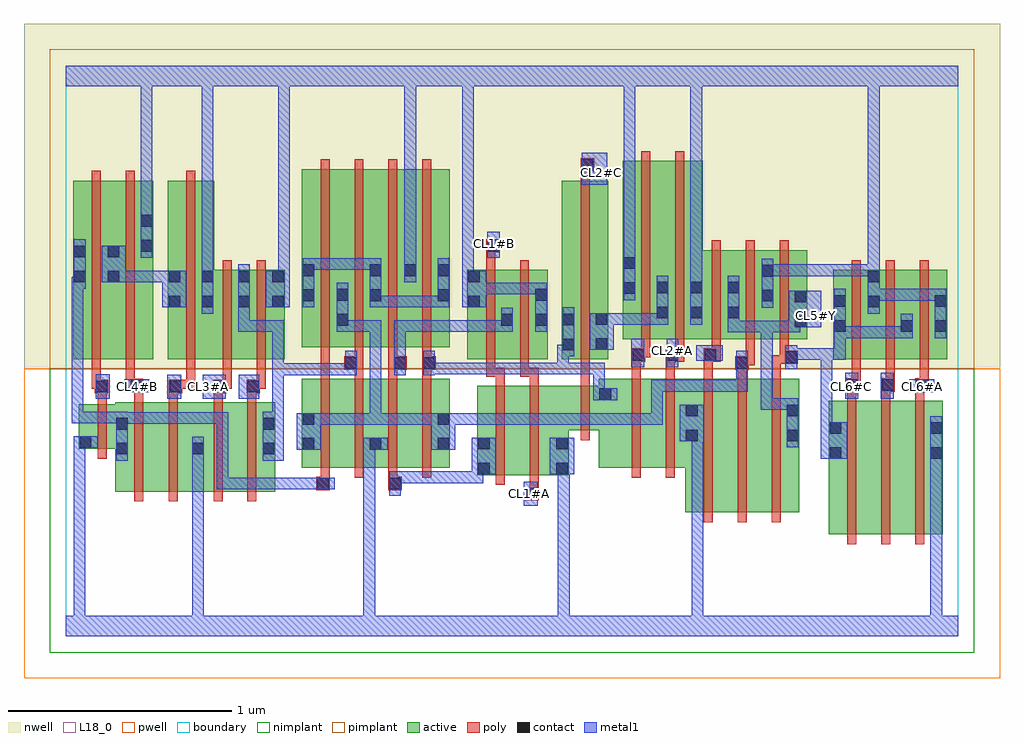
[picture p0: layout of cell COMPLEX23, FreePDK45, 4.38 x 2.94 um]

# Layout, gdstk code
import gdstk
lib = gdstk.Library(unit=1e-6, precision=1e-09)
def R(c, l, rs):  # rectangles x0, y0, x1, y1
    for r in rs: c.add(gdstk.rectangle(r[:2], r[2:], *l))
def A(c, l, x, y, w, h, nx, ny, dx, dy):  # array of equal rectangles
    R(c, l, [(x+i*dx, y+j*dy, x+i*dx+w, y+j*dy+h) for i in range(nx) for j in range(ny)])
active = (1, 0)
pwell = (2, 0)
nwell = (3, 0)
nimplant = (4, 0)
pimplant = (5, 0)
poly = (9, 0)
contact = (10, 0)
metal1 = (11, 0)
L18_0 = (18, 0)
boundary = (235, 0)

complex23 = lib.new_cell('COMPLEX23')
R(complex23, active, [(3.42,0.458,3.6,1.058), (3.6,0.458,3.752,1.058), (3.752,0.458,3.932,1.058), (3.872,0.458,3.932,1.058), (2.776,0.556,2.956,1.156), (2.956,0.556,3.108,1.156), (3.108,0.556,3.288,1.156), (3.228,0.556,3.288,1.156), (3.42,0.556,3.48,1.058), (0.222,0.65,0.402,1.05), (0.402,0.65,0.622,1.05), (0.562,0.65,0.758,1.05), (0.758,0.65,0.938,1.05), (1.844,0.724,1.904,1.124), (1.844,0.724,2.024,1.124), (2.024,0.724,2.254,1.124), (2.194,0.724,2.254,0.956), (0.562,0.756,0.622,0.872), (0.878,0.756,0.938,1.05), (1.058,0.756,1.118,1.156), (1.058,0.756,1.238,1.156), (1.238,0.756,1.418,1.156), (1.358,0.756,1.418,1.156), (1.358,0.756,1.542,1.156), (1.542,0.756,1.722,1.156), (1.662,0.756,1.722,1.156), (2.388,0.756,2.634,1.156), (2.634,0.756,2.836,1.156), (2.776,0.756,2.836,1.156), (0.222,0.812,0.282,1.042), (0.058,0.842,0.282,1.042), (0.058,0.842,0.118,1.042), (2.194,0.924,2.448,1.124), (2.388,0.956,2.448,1.124), (0.032,1.244,0.244,2.044), (0.032,1.244,0.092,2.044), (0.184,1.244,0.392,2.044), (0.184,1.244,0.244,2.044), (0.332,1.244,0.392,2.044), (0.456,1.244,0.664,2.044), (0.456,1.244,0.516,2.044), (0.604,1.244,0.828,1.644), (0.768,1.244,0.828,1.644), (0.768,1.244,0.98,1.644), (0.92,1.244,0.98,1.644), (1.8,1.244,1.86,1.644), (1.8,1.244,2.008,1.644), (1.948,1.244,2.16,1.644), (2.1,1.244,2.16,1.644), (2.224,1.244,2.432,2.044), (2.224,1.244,2.284,2.044), (2.372,1.244,2.432,2.044), (3.44,1.244,3.5,1.644), (3.44,1.244,3.652,1.644), (3.592,1.244,3.652,1.644), (3.592,1.244,3.8,1.644), (3.74,1.244,3.952,1.644), (3.892,1.244,3.952,1.644), (1.058,1.296,1.27,2.096), (1.058,1.296,1.118,2.096), (1.21,1.296,1.418,2.096), (1.21,1.296,1.27,2.044), (1.358,1.296,1.418,2.096), (1.358,1.296,1.574,2.096), (1.514,1.296,1.722,2.096), (1.514,1.296,1.574,2.096), (1.662,1.296,1.722,2.096), (2.496,1.332,2.704,2.132), (2.496,1.332,2.556,2.044), (2.644,1.332,2.856,2.132), (2.796,1.332,3.024,1.732), (2.964,1.332,3.176,1.732), (3.116,1.332,3.324,1.732), (3.264,1.332,3.324,1.732), (3.74,1.362,3.8,1.644), (1.948,1.39,2.008,1.644), (2.644,1.416,2.704,2.044), (2.796,1.422,2.856,1.644), (2.964,1.422,3.024,1.644), (0.604,1.472,0.664,1.644), (3.116,1.472,3.176,1.67)])
R(complex23, pwell, [(-0.188,-0.188,4.188,1.2)])
R(complex23, nwell, [(-0.188,1.2,4.188,2.748)])
R(complex23, nimplant, [(-0.072,-0.072,4.072,1.2)])
R(complex23, pimplant, [(-0.072,1.2,4.072,2.632)])
A(complex23, poly, 3.504, 0.414, 0.04, 0.688, 3, 1, 0.152, 0)
A(complex23, poly, 2.86, 0.512, 0.04, 0.688, 3, 1, 0.152, 0)
A(complex23, poly, 1.142, 0.712, 0.04, 0.488, 4, 1, 0.152, 0)
A(complex23, poly, 3.504, 1.062, 0.04, 0.076, 3, 1, 0.152, 0)
A(complex23, poly, 3.524, 1.118, 0.04, 0.122, 3, 1, 0.152, 0)
A(complex23, poly, 1.294, 1.16, 0.04, 0.076, 3, 1, 0.152, 0)
A(complex23, poly, 3.524, 1.2, 0.04, 0.488, 3, 1, 0.152, 0)
A(complex23, poly, 1.142, 1.216, 0.04, 0.076, 4, 1, 0.152, 0)
A(complex23, poly, 1.142, 1.252, 0.04, 0.888, 4, 1, 0.152, 0)
A(complex23, poly, 2.896, 1.288, 0.04, 0.488, 3, 1, 0.152, 0)
R(complex23, poly, [(0.306,0.606,0.346,1.094), (0.462,0.606,0.502,1.094), (0.662,0.606,0.702,1.094), (0.814,0.606,0.854,1.094), (2.06,0.61,2.12,0.67), (2.08,0.63,2.12,0.72), (1.122,0.656,1.182,0.716), (1.446,0.656,1.506,0.716), (1.142,0.676,1.182,0.752), (1.446,0.676,1.486,0.752), (1.928,0.68,1.968,1.168), (2.08,0.68,2.12,1.168), (2.538,0.712,2.578,1.2), (2.69,0.712,2.73,1.2), (0.142,0.798,0.182,1.086), (2.308,0.88,2.348,1.168), (0.142,1.046,0.182,1.13), (0.306,1.054,0.346,1.136), (0.462,1.054,0.502,1.13), (0.662,1.054,0.702,1.13), (0.814,1.054,0.854,1.13), (0.13,1.09,0.19,1.15), (0.462,1.09,0.522,1.15), (0.66,1.09,0.72,1.15), (0.81,1.09,0.87,1.15), (0.286,1.096,0.346,1.156), (3.496,1.098,3.556,1.158), (3.656,1.098,3.716,1.158), (3.808,1.098,3.868,1.158), (0.116,1.11,0.156,1.24), (0.116,1.11,0.17,1.15), (0.13,1.11,0.17,1.15), (0.482,1.11,0.522,1.15), (0.482,1.11,0.58,1.15), (0.54,1.11,0.58,1.24), (0.68,1.11,0.72,1.15), (0.68,1.11,0.744,1.15), (0.704,1.11,0.744,1.24), (0.83,1.11,0.87,1.15), (0.83,1.11,0.896,1.15), (0.856,1.11,0.896,1.24), (0.268,1.116,0.308,1.24), (0.268,1.116,0.326,1.156), (0.286,1.116,0.326,1.156), (3.516,1.118,3.556,1.158), (3.516,1.118,3.564,1.158), (3.676,1.118,3.716,1.158), (3.676,1.118,3.716,1.158), (3.828,1.118,3.868,1.158), (3.828,1.118,3.868,1.158), (1.928,1.128,1.968,1.204), (2.08,1.128,2.12,1.204), (2.308,1.128,2.348,1.204), (1.142,1.16,1.182,1.256), (2.538,1.16,2.578,1.272), (2.69,1.16,2.73,1.272), (2.86,1.16,2.9,1.272), (3.012,1.16,3.052,1.236), (3.164,1.16,3.204,1.262), (1.884,1.164,1.924,1.204), (1.884,1.164,1.924,1.204), (1.884,1.164,1.924,1.24), (1.884,1.164,1.968,1.204), (2.036,1.164,2.076,1.24), (2.036,1.164,2.11,1.204), (2.07,1.164,2.11,1.204), (2.07,1.164,2.12,1.204), (2.308,1.164,2.348,1.204), (2.308,1.164,2.348,1.204), (2.308,1.164,2.348,1.204), (2.308,1.164,2.348,1.24), (1.248,1.196,1.334,1.256), (1.294,1.196,1.334,1.236), (1.294,1.196,1.334,1.236), (1.446,1.196,1.486,1.236), (1.446,1.196,1.486,1.236), (1.446,1.196,1.528,1.256), (1.598,1.196,1.638,1.236), (1.598,1.196,1.638,1.236), (1.598,1.196,1.658,1.256), (3.002,1.196,3.062,1.256), (0.116,1.2,0.156,2.088), (0.268,1.2,0.308,2.088), (0.54,1.2,0.58,2.088), (0.704,1.2,0.744,1.688), (0.856,1.2,0.896,1.688), (1.884,1.2,1.924,1.688), (2.036,1.2,2.076,1.688), (2.308,1.2,2.348,2.088), (1.142,1.216,1.182,1.256), (1.142,1.216,1.182,1.256), (1.142,1.216,1.182,1.256), (3.022,1.216,3.062,1.256), (3.022,1.216,3.088,1.256), (3.048,1.216,3.088,1.328), (3.164,1.222,3.24,1.262), (3.2,1.222,3.24,1.262), (3.2,1.222,3.282,1.282), (2.538,1.232,2.598,1.292), (2.69,1.232,2.73,1.272), (2.69,1.232,2.73,1.272), (2.69,1.232,2.772,1.292), (2.86,1.232,2.9,1.272), (2.86,1.232,2.9,1.272), (2.86,1.232,2.936,1.292), (3.2,1.242,3.24,1.328), (2.558,1.252,2.598,1.292), (2.558,1.252,2.62,1.292), (2.58,1.252,2.62,1.328), (2.732,1.252,2.772,1.328), (2.896,1.252,2.936,1.328), (2.58,1.288,2.62,2.176), (2.732,1.288,2.772,2.176), (1.884,1.648,1.924,1.762), (1.884,1.722,1.944,1.782), (2.308,2.048,2.348,2.124), (2.308,2.084,2.368,2.144)])
R(complex23, contact, [(2.064,0.614,2.116,0.666), (1.126,0.66,1.178,0.712), (1.45,0.66,1.502,0.712), (1.848,0.728,1.9,0.78), (2.198,0.728,2.25,0.78), (3.424,0.796,3.476,0.848), (3.876,0.796,3.928,0.848), (0.226,0.816,0.278,0.868), (0.566,0.816,0.618,0.868), (0.882,0.816,0.934,0.868), (1.062,0.838,1.114,0.89), (1.362,0.838,1.414,0.89), (1.666,0.838,1.718,0.89), (1.848,0.84,1.9,0.892), (2.198,0.84,2.25,0.892), (0.062,0.846,0.114,0.898), (2.78,0.876,2.832,0.928), (3.232,0.876,3.284,0.928), (3.424,0.908,3.476,0.96), (3.876,0.908,3.928,0.96), (0.226,0.928,0.278,0.98), (0.882,0.928,0.934,0.98), (1.062,0.95,1.114,1.002), (1.666,0.95,1.718,1.002), (2.78,0.988,2.832,1.04), (3.232,0.988,3.284,1.04), (2.392,1.06,2.444,1.112), (0.134,1.094,0.186,1.146), (0.466,1.094,0.518,1.146), (0.664,1.094,0.716,1.146), (0.814,1.094,0.866,1.146), (0.29,1.1,0.342,1.152), (3.5,1.102,3.552,1.154), (3.66,1.102,3.712,1.154), (3.812,1.102,3.864,1.154), (1.252,1.2,1.304,1.252), (1.472,1.2,1.524,1.252), (1.602,1.2,1.654,1.252), (3.006,1.2,3.058,1.252), (3.226,1.226,3.278,1.278), (2.542,1.236,2.594,1.288), (2.694,1.236,2.746,1.288), (2.864,1.236,2.916,1.288), (2.228,1.284,2.28,1.336), (2.376,1.286,2.428,1.338), (3.444,1.366,3.496,1.418), (3.744,1.366,3.796,1.418), (3.896,1.366,3.948,1.418), (3.268,1.386,3.32,1.438), (1.214,1.394,1.266,1.446), (1.952,1.394,2.004,1.446), (2.104,1.394,2.156,1.446), (2.228,1.396,2.28,1.448), (2.376,1.398,2.428,1.45), (2.648,1.426,2.7,1.478), (2.8,1.426,2.852,1.478), (2.968,1.426,3.02,1.478), (0.46,1.476,0.512,1.528), (0.608,1.476,0.66,1.528), (0.772,1.476,0.824,1.528), (0.924,1.476,0.976,1.528), (1.804,1.476,1.856,1.528), (3.596,1.476,3.648,1.528), (3.444,1.478,3.496,1.53), (3.896,1.478,3.948,1.53), (3.268,1.498,3.32,1.55), (3.12,1.502,3.172,1.554), (1.062,1.504,1.114,1.556), (1.362,1.504,1.414,1.556), (1.666,1.504,1.718,1.556), (1.214,1.506,1.266,1.558), (2.104,1.506,2.156,1.558), (2.5,1.536,2.552,1.588), (2.648,1.538,2.7,1.59), (2.8,1.538,2.852,1.59), (2.968,1.538,3.02,1.59), (0.036,1.588,0.088,1.64), (0.188,1.588,0.24,1.64), (0.46,1.588,0.512,1.64), (0.608,1.588,0.66,1.64), (0.772,1.588,0.824,1.64), (0.924,1.588,0.976,1.64), (1.804,1.588,1.856,1.64), (3.596,1.588,3.648,1.64), (3.12,1.614,3.172,1.666), (1.062,1.616,1.114,1.668), (1.362,1.616,1.414,1.668), (1.518,1.616,1.57,1.668), (1.666,1.616,1.718,1.668), (2.5,1.648,2.552,1.7), (0.036,1.7,0.088,1.752), (0.188,1.7,0.24,1.752), (0.336,1.726,0.388,1.778), (1.888,1.726,1.94,1.778), (0.336,1.838,0.388,1.89), (2.312,2.088,2.364,2.14)])
A(complex23, metal1, 0.226, 0.954, 0.162, 0.052, 3, 1, 0.11, 0)
A(complex23, metal1, 0.336, 0.954, 0.052, 0.052, 3, 1, 0.11, 0)
R(complex23, metal1, [(0,0,4,0.092), (0.034,0.04,0.086,0.092), (0.034,0.04,0.086,0.092), (0.034,0.04,0.086,0.092), (0.034,0.04,0.086,0.092), (0.034,0.04,0.086,0.092), (0.034,0.04,0.086,0.092), (0.034,0.04,0.086,0.092), (0.034,0.04,0.086,0.092), (0.034,0.04,0.086,0.898), (0.566,0.04,0.618,0.092), (0.566,0.04,0.618,0.092), (0.566,0.04,0.618,0.092), (0.566,0.04,0.618,0.092), (0.566,0.04,0.618,0.092), (0.566,0.04,0.618,0.092), (0.566,0.04,0.618,0.092), (0.566,0.04,0.618,0.092), (0.566,0.04,0.618,0.092), (0.566,0.04,0.618,0.092), (0.566,0.04,0.618,0.092), (0.566,0.04,0.618,0.092), (0.566,0.04,0.618,0.84), (1.334,0.04,1.386,0.098), (2.206,0.04,2.258,0.092), (2.206,0.04,2.258,0.092), (2.206,0.04,2.258,0.78), (2.806,0.04,2.858,0.092), (2.806,0.04,2.858,0.092), (2.806,0.04,2.858,0.092), (2.806,0.04,2.858,0.092), (2.806,0.04,2.858,0.928), (3.876,0.04,3.928,0.092), (3.876,0.04,3.928,0.092), (3.876,0.04,3.928,0.82), (1.334,0.046,1.386,0.098), (1.334,0.046,1.386,0.098), (1.334,0.046,1.386,0.098), (1.334,0.046,1.386,0.098), (1.334,0.046,1.386,0.098), (1.334,0.046,1.386,0.098), (1.334,0.046,1.386,0.098), (1.334,0.046,1.386,0.098), (1.334,0.046,1.386,0.098), (1.334,0.046,1.386,0.098), (1.334,0.046,1.386,0.098), (1.334,0.046,1.386,0.89), (2.052,0.586,2.116,0.694), (1.45,0.632,1.502,0.74), (0.676,0.66,0.728,0.712), (0.676,0.66,0.728,0.712), (0.676,0.66,0.728,0.712), (0.676,0.66,1.004,0.712), (0.676,0.66,0.728,1.006), (0.952,0.66,1.004,0.712), (0.952,0.66,1.004,0.712), (0.952,0.66,1.004,0.712), (0.952,0.66,1.004,0.712), (0.952,0.66,1.004,0.712), (0.952,0.66,1.004,0.712), (0.952,0.66,1.004,0.712), (0.952,0.66,1.004,0.712), (0.952,0.66,1.004,0.712), (0.952,0.66,1.15,0.712), (1.098,0.66,1.206,0.712), (1.45,0.688,1.544,0.74), (1.492,0.688,1.544,0.74), (1.492,0.688,1.654,0.74), (1.602,0.688,1.654,0.74), (1.602,0.688,1.654,0.74), (1.602,0.688,1.654,0.74), (1.602,0.688,1.872,0.74), (1.82,0.688,1.872,0.74), (1.82,0.688,1.872,0.78), (1.82,0.728,1.928,0.892), (2.17,0.728,2.278,0.892), (2.206,0.728,2.258,0.78), (2.206,0.728,2.258,0.78), (2.206,0.728,2.258,0.78), (2.206,0.728,2.258,0.78), (2.206,0.728,2.258,0.78), (2.206,0.728,2.258,0.78), (2.206,0.728,2.258,0.78), (2.206,0.728,2.258,0.78), (2.206,0.728,2.258,0.78), (2.206,0.728,2.258,0.78), (3.876,0.768,3.928,0.82), (3.876,0.768,3.928,0.82), (3.876,0.768,3.928,0.82), (3.876,0.768,3.928,0.82), (3.876,0.768,3.928,0.82), (3.876,0.768,3.928,0.82), (3.876,0.768,3.928,0.988), (0.226,0.788,0.278,1.008), (0.566,0.788,0.618,0.896), (0.882,0.788,0.976,1.008), (3.384,0.796,3.504,0.96), (1.034,0.838,1.142,1.002), (1.334,0.838,1.442,0.89), (1.638,0.838,1.746,1.002), (0.034,0.846,0.086,0.898), (0.034,0.846,0.086,0.898), (0.034,0.846,0.086,0.898), (0.034,0.846,0.086,0.898), (0.034,0.846,0.086,0.898), (0.034,0.846,0.086,0.898), (0.034,0.846,0.086,0.898), (0.034,0.846,0.086,0.898), (0.034,0.846,0.142,0.898), (3.232,0.848,3.284,1.068), (2.752,0.876,2.86,1.04), (2.806,0.876,2.858,0.928), (2.806,0.876,2.858,0.928), (2.806,0.876,2.858,0.928), (2.806,0.876,2.858,0.928), (3.384,0.908,3.436,0.96), (3.384,0.908,3.436,0.96), (3.384,0.908,3.436,1.292), (1.09,0.95,1.142,1.002), (1.09,0.95,1.142,1.002), (1.09,0.95,1.252,1.002), (1.2,0.95,1.252,1.002), (1.2,0.95,1.252,1.002), (1.2,0.95,1.252,1.002), (1.2,0.95,1.414,1.002), (1.362,0.95,1.414,1.002), (1.362,0.95,1.414,1.002), (1.362,0.95,1.414,1.002), (1.362,0.95,1.524,1.002), (1.362,0.95,1.414,1.418), (1.472,0.95,1.524,1.002), (1.472,0.95,1.524,1.002), (1.472,0.95,1.524,1.002), (1.472,0.95,1.69,1.002), (1.638,0.95,1.69,1.002), (1.638,0.95,1.69,1.002), (1.694,0.95,1.856,1.002), (1.804,0.95,1.856,1.002), (1.804,0.95,1.856,1.002), (1.804,0.95,1.856,1.002), (1.804,0.95,2.046,1.002), (1.994,0.95,2.046,1.002), (1.994,0.95,2.046,1.002), (1.994,0.95,2.046,1.002), (1.994,0.95,2.226,1.002), (2.174,0.95,2.226,1.002), (2.174,0.95,2.226,1.002), (2.174,0.95,2.226,1.002), (2.174,0.95,2.226,1.002), (2.174,0.95,2.226,1.002), (2.174,0.95,2.442,1.002), (2.39,0.95,2.442,1.002), (2.39,0.95,2.442,1.002), (2.39,0.95,2.442,1.002), (2.39,0.95,2.566,1.002), (2.514,0.95,2.566,1.002), (2.514,0.95,2.566,1.002), (2.514,0.95,2.566,1.002), (2.514,0.95,2.676,1.002), (2.624,0.95,2.676,1.002), (2.624,0.95,2.676,1.15), (0.226,0.954,0.278,1.006), (0.226,0.954,0.278,1.006), (0.336,0.954,0.388,1.006), (0.336,0.954,0.388,1.006), (0.556,0.954,0.608,1.006), (0.556,0.954,0.608,1.006), (0.556,0.954,0.728,1.006), (0.676,0.954,0.728,1.006), (0.026,0.956,0.078,1.008), (0.026,0.956,0.078,1.008), (0.026,0.956,0.078,1.008), (0.026,0.956,0.278,1.008), (0.026,0.956,0.078,1.612), (0.924,0.956,0.976,1.224), (3.116,1.016,3.168,1.068), (3.116,1.016,3.168,1.068), (3.116,1.016,3.168,1.068), (3.116,1.016,3.284,1.068), (3.116,1.016,3.168,1.416), (2.364,1.06,2.416,1.112), (2.364,1.06,2.416,1.112), (2.364,1.06,2.416,1.228), (2.364,1.06,2.472,1.112), (0.134,1.066,0.196,1.176), (0.454,1.066,0.518,1.174), (0.614,1.066,0.716,1.174), (0.774,1.066,0.866,1.174), (3.494,1.066,3.552,1.182), (3.654,1.066,3.712,1.182), (0.262,1.094,0.374,1.154), (3.782,1.094,3.894,1.154), (2.624,1.098,2.676,1.15), (2.624,1.098,2.676,1.15), (2.624,1.098,2.676,1.15), (2.624,1.098,2.826,1.15), (2.774,1.098,2.826,1.15), (2.774,1.098,2.826,1.15), (2.774,1.098,2.826,1.15), (2.774,1.098,3.058,1.15), (3.006,1.098,3.058,1.15), (3.006,1.098,3.058,1.224), (0.924,1.172,0.976,1.224), (0.924,1.172,0.976,1.224), (0.924,1.172,0.976,1.224), (0.924,1.172,0.976,1.224), (0.924,1.172,0.976,1.224), (0.924,1.172,1.142,1.224), (0.924,1.172,0.976,1.418), (1.09,1.172,1.142,1.224), (1.09,1.172,1.252,1.224), (1.2,1.172,1.252,1.224), (1.2,1.172,1.304,1.224), (1.252,1.172,1.304,1.28), (1.472,1.172,1.524,1.28), (1.602,1.172,1.654,1.28), (3.006,1.172,3.058,1.224), (3.006,1.172,3.058,1.224), (3.006,1.172,3.058,1.28), (1.602,1.176,1.654,1.228), (1.602,1.176,1.654,1.228), (1.602,1.176,1.856,1.228), (1.804,1.176,1.856,1.228), (1.804,1.176,1.856,1.228), (1.804,1.176,1.856,1.228), (1.804,1.176,2.046,1.228), (1.994,1.176,2.046,1.228), (1.994,1.176,2.046,1.228), (1.994,1.176,2.046,1.228), (1.994,1.176,2.254,1.228), (2.202,1.176,2.254,1.228), (2.202,1.176,2.254,1.228), (2.202,1.176,2.254,1.228), (2.202,1.176,2.416,1.228), (2.202,1.176,2.254,1.308), (2.364,1.176,2.416,1.228), (2.364,1.176,2.416,1.228), (2.364,1.176,2.416,1.228), (3.226,1.198,3.278,1.306), (2.534,1.208,2.594,1.334), (2.694,1.208,2.746,1.334), (1.472,1.228,1.524,1.28), (1.472,1.228,1.524,1.28), (1.472,1.228,1.524,1.418), (2.826,1.236,2.944,1.306), (3.226,1.24,3.282,1.292), (3.23,1.24,3.282,1.292), (3.23,1.24,3.436,1.292), (3.384,1.24,3.496,1.292), (3.444,1.24,3.496,1.39), (2.202,1.256,2.254,1.308), (2.202,1.256,2.28,1.308), (2.228,1.256,2.28,1.476), (2.348,1.286,2.456,1.45), (3.444,1.338,3.496,1.39), (3.444,1.338,3.496,1.39), (3.444,1.338,3.496,1.558), (3.444,1.338,3.606,1.39), (3.554,1.338,3.606,1.39), (3.554,1.338,3.606,1.39), (3.554,1.338,3.606,1.39), (3.554,1.338,3.796,1.39), (3.744,1.338,3.796,1.446), (3.896,1.338,3.948,1.558), (2.968,1.364,3.168,1.416), (2.968,1.364,3.02,1.45), (3.116,1.364,3.168,1.416), (3.116,1.364,3.168,1.416), (3.116,1.364,3.168,1.416), (3.116,1.364,3.168,1.416), (3.116,1.364,3.168,1.416), (3.116,1.364,3.168,1.416), (3.116,1.364,3.168,1.416), (3.116,1.364,3.292,1.416), (3.24,1.364,3.292,1.416), (3.24,1.364,3.292,1.438), (0.772,1.366,0.976,1.418), (0.772,1.366,0.824,1.5), (0.924,1.366,0.976,1.418), (0.924,1.366,0.976,1.418), (0.924,1.366,0.976,1.418), (1.214,1.366,1.266,1.418), (1.214,1.366,1.266,1.418), (1.214,1.366,1.266,1.586), (1.214,1.366,1.414,1.418), (1.362,1.366,1.414,1.418), (1.362,1.366,1.414,1.418), (1.362,1.366,1.414,1.418), (1.472,1.366,1.524,1.418), (1.472,1.366,1.718,1.418), (1.666,1.366,1.718,1.418), (1.666,1.366,1.718,1.418), (1.666,1.366,1.718,1.418), (1.666,1.366,1.856,1.418), (1.804,1.366,1.856,1.418), (1.804,1.366,1.856,1.418), (1.804,1.366,1.856,1.418), (1.804,1.366,2.004,1.418), (1.952,1.366,2.004,1.474), (2.104,1.366,2.156,1.586), (3.24,1.386,3.386,1.55), (2.404,1.398,2.566,1.45), (2.514,1.398,2.566,1.45), (2.514,1.398,2.566,1.45), (2.514,1.398,2.566,1.45), (2.514,1.398,2.7,1.45), (2.648,1.398,2.7,1.618), (2.8,1.398,2.852,1.618), (2.968,1.398,3.02,1.45), (2.968,1.398,3.02,1.618), (0.608,1.448,0.66,1.668), (0.772,1.448,0.824,1.5), (0.772,1.448,0.824,1.668), (3.596,1.448,3.648,1.668), (3.12,1.474,3.172,1.694), (0.432,1.476,0.54,1.64), (0.896,1.476,1.004,1.64), (1.062,1.476,1.114,1.696), (1.362,1.476,1.414,1.696), (1.362,1.476,1.544,1.528), (1.492,1.476,1.544,1.528), (1.492,1.476,1.544,1.528), (1.492,1.476,1.544,1.528), (1.492,1.476,1.718,1.528), (1.666,1.476,1.718,1.528), (1.666,1.476,1.718,1.528), (1.666,1.476,1.718,1.696), (1.776,1.476,1.884,1.64), (3.596,1.506,3.648,1.558), (3.596,1.506,3.648,1.558), (3.596,1.506,3.758,1.558), (3.706,1.506,3.758,1.558), (3.706,1.506,3.948,1.558), (3.896,1.506,3.948,1.558), (3.896,1.506,3.948,1.558), (2.5,1.508,2.552,1.728), (1.832,1.534,1.884,1.586), (1.832,1.534,1.884,1.586), (1.832,1.534,2.046,1.586), (1.994,1.534,2.046,1.586), (1.994,1.534,2.046,1.586), (1.994,1.534,2.046,1.586), (1.994,1.534,2.156,1.586), (0.026,1.56,0.078,1.612), (0.026,1.56,0.078,1.612), (0.026,1.56,0.088,1.612), (0.036,1.56,0.088,1.612), (0.036,1.56,0.088,1.78), (2.8,1.566,2.852,2.52), (0.16,1.588,0.268,1.752), (0.216,1.588,0.268,1.64), (0.216,1.588,0.268,1.64), (0.216,1.588,0.388,1.64), (0.336,1.588,0.388,1.64), (0.336,1.588,0.484,1.64), (0.952,1.588,1.004,1.64), (0.952,1.588,1.004,1.64), (0.952,1.588,1.004,1.64), (0.952,1.588,1.004,1.64), (0.952,1.588,1.004,1.64), (0.952,1.588,1.004,1.64), (0.952,1.588,1.004,1.64), (0.952,1.588,1.004,1.64), (0.952,1.588,1.004,2.52), (1.518,1.588,1.57,1.696), (1.776,1.588,1.828,1.64), (1.776,1.588,1.828,1.64), (1.776,1.588,1.828,1.64), (1.776,1.588,1.828,1.64), (1.776,1.588,1.828,1.64), (1.776,1.588,1.828,1.64), (1.776,1.588,1.828,2.52), (0.608,1.616,0.66,2.52), (3.12,1.616,3.18,1.668), (3.128,1.616,3.18,1.668), (3.128,1.616,3.282,1.668), (3.23,1.616,3.282,1.668), (3.23,1.616,3.458,1.668), (3.406,1.616,3.458,1.668), (3.406,1.616,3.458,1.668), (3.406,1.616,3.458,1.668), (3.406,1.616,3.648,1.668), (3.596,1.616,3.648,2.52), (1.062,1.644,1.114,1.696), (1.062,1.644,1.114,1.696), (1.062,1.644,1.276,1.696), (1.224,1.644,1.276,1.696), (1.224,1.644,1.276,1.696), (1.224,1.644,1.276,1.696), (1.224,1.644,1.414,1.696), (1.518,1.644,1.57,1.696), (1.518,1.644,1.57,1.696), (1.518,1.644,1.57,2.52), (2.5,1.676,2.552,2.52), (0.336,1.698,0.388,1.918), (1.888,1.698,1.946,1.814), (0.336,1.866,0.388,2.52), (2.312,2.026,2.426,2.168), (0,2.468,4,2.56), (0.336,2.468,0.388,2.52), (0.336,2.468,0.388,2.52), (0.336,2.468,0.388,2.52), (0.336,2.468,0.388,2.52), (0.336,2.468,0.388,2.52), (0.336,2.468,0.388,2.52), (0.336,2.468,0.388,2.52), (0.336,2.468,0.388,2.52), (0.608,2.468,0.66,2.52), (0.608,2.468,0.66,2.52), (0.608,2.468,0.66,2.52), (0.608,2.468,0.66,2.52), (0.608,2.468,0.66,2.52), (0.608,2.468,0.66,2.52), (0.608,2.468,0.66,2.52), (0.608,2.468,0.66,2.52), (0.952,2.468,1.004,2.52), (0.952,2.468,1.004,2.52), (0.952,2.468,1.004,2.52), (0.952,2.468,1.004,2.52), (0.952,2.468,1.004,2.52), (0.952,2.468,1.004,2.52), (0.952,2.468,1.004,2.52), (0.952,2.468,1.004,2.52), (1.518,2.468,1.57,2.52), (1.518,2.468,1.57,2.52), (1.518,2.468,1.57,2.52), (1.518,2.468,1.57,2.52), (1.518,2.468,1.57,2.52), (1.518,2.468,1.57,2.52), (1.776,2.468,1.828,2.52), (1.776,2.468,1.828,2.52), (1.776,2.468,1.828,2.52), (1.776,2.468,1.828,2.52), (1.776,2.468,1.828,2.52), (1.776,2.468,1.828,2.52), (1.776,2.468,1.828,2.52), (1.776,2.468,1.828,2.52), (1.776,2.468,1.828,2.52), (1.776,2.468,1.828,2.52), (2.5,2.468,2.552,2.52), (2.5,2.468,2.552,2.52), (2.5,2.468,2.552,2.52), (2.5,2.468,2.552,2.52), (2.5,2.468,2.552,2.52), (2.5,2.468,2.552,2.52), (2.5,2.468,2.552,2.52), (2.5,2.468,2.552,2.52), (2.8,2.468,2.852,2.52), (2.8,2.468,2.852,2.52), (2.8,2.468,2.852,2.52), (2.8,2.468,2.852,2.52), (2.8,2.468,2.852,2.52), (2.8,2.468,2.852,2.52), (2.8,2.468,2.852,2.52), (2.8,2.468,2.852,2.52), (3.596,2.468,3.648,2.52), (3.596,2.468,3.648,2.52), (3.596,2.468,3.648,2.52), (3.596,2.468,3.648,2.52), (3.596,2.468,3.648,2.52), (3.596,2.468,3.648,2.52), (3.596,2.468,3.648,2.52), (3.596,2.468,3.648,2.52), (3.596,2.468,3.648,2.52), (3.596,2.468,3.648,2.52), (3.596,2.468,3.648,2.52), (3.596,2.468,3.648,2.52), (3.596,2.468,3.648,2.52), (3.596,2.468,3.648,2.52), (3.596,2.468,3.648,2.52), (3.596,2.468,3.648,2.52)])
A(complex23, L18_0, 0.134, 1.094, 0.052, 0.052, 5, 1, 0.16, 0)
A(complex23, L18_0, 3.494, 1.094, 0.052, 0.052, 3, 1, 0.16, 0)
A(complex23, L18_0, 2.534, 1.254, 0.052, 0.052, 3, 1, 0.16, 0)
R(complex23, L18_0, [(0,0,4,0.092), (0.034,0.04,0.086,0.092), (0.034,0.04,0.086,0.092), (0.034,0.04,0.086,0.092), (0.034,0.04,0.086,0.092), (0.034,0.04,0.086,0.092), (0.034,0.04,0.086,0.092), (0.034,0.04,0.086,0.092), (0.034,0.04,0.086,0.092), (0.034,0.04,0.086,0.898), (0.566,0.04,0.618,0.092), (0.566,0.04,0.618,0.092), (0.566,0.04,0.618,0.092), (0.566,0.04,0.618,0.092), (0.566,0.04,0.618,0.092), (0.566,0.04,0.618,0.092), (0.566,0.04,0.618,0.092), (0.566,0.04,0.618,0.092), (0.566,0.04,0.618,0.092), (0.566,0.04,0.618,0.092), (0.566,0.04,0.618,0.092), (0.566,0.04,0.618,0.092), (0.566,0.04,0.618,0.84), (1.334,0.04,1.386,0.098), (2.206,0.04,2.258,0.092), (2.206,0.04,2.258,0.092), (2.206,0.04,2.258,0.78), (2.806,0.04,2.858,0.092), (2.806,0.04,2.858,0.092), (2.806,0.04,2.858,0.092), (2.806,0.04,2.858,0.092), (2.806,0.04,2.858,0.928), (3.876,0.04,3.928,0.092), (3.876,0.04,3.928,0.092), (3.876,0.04,3.928,0.82), (1.334,0.046,1.386,0.098), (1.334,0.046,1.386,0.098), (1.334,0.046,1.386,0.098), (1.334,0.046,1.386,0.098), (1.334,0.046,1.386,0.098), (1.334,0.046,1.386,0.098), (1.334,0.046,1.386,0.098), (1.334,0.046,1.386,0.098), (1.334,0.046,1.386,0.098), (1.334,0.046,1.386,0.098), (1.334,0.046,1.386,0.098), (1.334,0.046,1.386,0.89), (2.052,0.586,2.116,0.694), (2.054,0.614,2.106,0.666), (2.17,0.728,2.278,0.892), (2.206,0.728,2.258,0.78), (2.206,0.728,2.258,0.78), (2.206,0.728,2.258,0.78), (2.206,0.728,2.258,0.78), (2.206,0.728,2.258,0.78), (2.206,0.728,2.258,0.78), (2.206,0.728,2.258,0.78), (2.206,0.728,2.258,0.78), (2.206,0.728,2.258,0.78), (2.206,0.728,2.258,0.78), (3.876,0.768,3.928,0.82), (3.876,0.768,3.928,0.82), (3.876,0.768,3.928,0.82), (3.876,0.768,3.928,0.82), (3.876,0.768,3.928,0.82), (3.876,0.768,3.928,0.82), (3.876,0.768,3.928,0.988), (0.566,0.788,0.618,0.896), (1.334,0.838,1.442,0.89), (0.034,0.846,0.086,0.898), (0.034,0.846,0.086,0.898), (0.034,0.846,0.086,0.898), (0.034,0.846,0.086,0.898), (0.034,0.846,0.086,0.898), (0.034,0.846,0.086,0.898), (0.034,0.846,0.086,0.898), (0.034,0.846,0.086,0.898), (0.034,0.846,0.142,0.898), (3.232,0.848,3.284,1.068), (2.752,0.876,2.86,1.04), (2.806,0.876,2.858,0.928), (2.806,0.876,2.858,0.928), (2.806,0.876,2.858,0.928), (2.806,0.876,2.858,0.928), (3.116,1.016,3.168,1.068), (3.116,1.016,3.168,1.068), (3.116,1.016,3.168,1.068), (3.116,1.016,3.168,1.416), (3.116,1.016,3.284,1.068), (0.134,1.066,0.196,1.176), (0.454,1.066,0.518,1.174), (0.614,1.066,0.716,1.174), (0.774,1.066,0.866,1.174), (3.494,1.066,3.552,1.182), (3.654,1.066,3.712,1.182), (0.262,1.094,0.374,1.154), (3.782,1.094,3.894,1.154), (2.534,1.208,2.594,1.334), (2.694,1.208,2.746,1.334), (2.826,1.236,2.944,1.306), (3.896,1.338,3.948,1.558), (2.968,1.364,3.02,1.45), (2.968,1.364,3.168,1.416), (3.116,1.364,3.168,1.416), (3.116,1.364,3.168,1.416), (3.116,1.364,3.168,1.416), (3.116,1.364,3.168,1.416), (3.116,1.364,3.168,1.416), (3.116,1.364,3.168,1.416), (3.116,1.364,3.168,1.416), (3.116,1.364,3.292,1.416), (3.24,1.364,3.292,1.416), (3.24,1.364,3.292,1.438), (2.104,1.366,2.156,1.586), (3.24,1.386,3.386,1.55), (2.8,1.398,2.852,1.618), (2.968,1.398,3.02,1.45), (2.968,1.398,3.02,1.618), (3.334,1.414,3.386,1.466), (0.608,1.448,0.66,1.668), (3.596,1.448,3.648,1.668), (3.12,1.474,3.172,1.694), (0.896,1.476,1.004,1.64), (1.776,1.476,1.884,1.64), (3.596,1.506,3.648,1.558), (3.596,1.506,3.648,1.558), (3.596,1.506,3.758,1.558), (3.706,1.506,3.758,1.558), (3.706,1.506,3.948,1.558), (3.896,1.506,3.948,1.558), (3.896,1.506,3.948,1.558), (2.5,1.508,2.552,1.728), (1.832,1.534,1.884,1.586), (1.832,1.534,1.884,1.586), (1.832,1.534,2.046,1.586), (1.994,1.534,2.046,1.586), (1.994,1.534,2.046,1.586), (1.994,1.534,2.046,1.586), (1.994,1.534,2.156,1.586), (2.8,1.566,2.852,2.52), (0.952,1.588,1.004,1.64), (0.952,1.588,1.004,1.64), (0.952,1.588,1.004,1.64), (0.952,1.588,1.004,1.64), (0.952,1.588,1.004,1.64), (0.952,1.588,1.004,1.64), (0.952,1.588,1.004,1.64), (0.952,1.588,1.004,1.64), (0.952,1.588,1.004,2.52), (1.518,1.588,1.57,1.696), (1.776,1.588,1.828,1.64), (1.776,1.588,1.828,1.64), (1.776,1.588,1.828,1.64), (1.776,1.588,1.828,1.64), (1.776,1.588,1.828,1.64), (1.776,1.588,1.828,1.64), (1.776,1.588,1.828,2.52), (0.608,1.616,0.66,2.52), (3.12,1.616,3.18,1.668), (3.128,1.616,3.18,1.668), (3.128,1.616,3.282,1.668), (3.23,1.616,3.282,1.668), (3.23,1.616,3.458,1.668), (3.406,1.616,3.458,1.668), (3.406,1.616,3.458,1.668), (3.406,1.616,3.458,1.668), (3.406,1.616,3.648,1.668), (3.596,1.616,3.648,2.52), (1.518,1.644,1.57,1.696), (1.518,1.644,1.57,1.696), (1.518,1.644,1.57,2.52), (2.5,1.676,2.552,2.52), (0.336,1.698,0.388,1.918), (1.888,1.698,1.946,1.814), (1.894,1.734,1.946,1.786), (0.336,1.866,0.388,2.52), (2.312,2.026,2.426,2.168), (2.374,2.054,2.426,2.106), (0,2.468,4,2.56), (0.336,2.468,0.388,2.52), (0.336,2.468,0.388,2.52), (0.336,2.468,0.388,2.52), (0.336,2.468,0.388,2.52), (0.336,2.468,0.388,2.52), (0.336,2.468,0.388,2.52), (0.336,2.468,0.388,2.52), (0.336,2.468,0.388,2.52), (0.608,2.468,0.66,2.52), (0.608,2.468,0.66,2.52), (0.608,2.468,0.66,2.52), (0.608,2.468,0.66,2.52), (0.608,2.468,0.66,2.52), (0.608,2.468,0.66,2.52), (0.608,2.468,0.66,2.52), (0.608,2.468,0.66,2.52), (0.952,2.468,1.004,2.52), (0.952,2.468,1.004,2.52), (0.952,2.468,1.004,2.52), (0.952,2.468,1.004,2.52), (0.952,2.468,1.004,2.52), (0.952,2.468,1.004,2.52), (0.952,2.468,1.004,2.52), (0.952,2.468,1.004,2.52), (1.518,2.468,1.57,2.52), (1.518,2.468,1.57,2.52), (1.518,2.468,1.57,2.52), (1.518,2.468,1.57,2.52), (1.518,2.468,1.57,2.52), (1.518,2.468,1.57,2.52), (1.776,2.468,1.828,2.52), (1.776,2.468,1.828,2.52), (1.776,2.468,1.828,2.52), (1.776,2.468,1.828,2.52), (1.776,2.468,1.828,2.52), (1.776,2.468,1.828,2.52), (1.776,2.468,1.828,2.52), (1.776,2.468,1.828,2.52), (1.776,2.468,1.828,2.52), (1.776,2.468,1.828,2.52), (2.5,2.468,2.552,2.52), (2.5,2.468,2.552,2.52), (2.5,2.468,2.552,2.52), (2.5,2.468,2.552,2.52), (2.5,2.468,2.552,2.52), (2.5,2.468,2.552,2.52), (2.5,2.468,2.552,2.52), (2.5,2.468,2.552,2.52), (2.8,2.468,2.852,2.52), (2.8,2.468,2.852,2.52), (2.8,2.468,2.852,2.52), (2.8,2.468,2.852,2.52), (2.8,2.468,2.852,2.52), (2.8,2.468,2.852,2.52), (2.8,2.468,2.852,2.52), (2.8,2.468,2.852,2.52), (3.596,2.468,3.648,2.52), (3.596,2.468,3.648,2.52), (3.596,2.468,3.648,2.52), (3.596,2.468,3.648,2.52), (3.596,2.468,3.648,2.52), (3.596,2.468,3.648,2.52), (3.596,2.468,3.648,2.52), (3.596,2.468,3.648,2.52), (3.596,2.468,3.648,2.52), (3.596,2.468,3.648,2.52), (3.596,2.468,3.648,2.52), (3.596,2.468,3.648,2.52), (3.596,2.468,3.648,2.52), (3.596,2.468,3.648,2.52), (3.596,2.468,3.648,2.52), (3.596,2.468,3.648,2.52)])
R(complex23, boundary, [(0,0,4,2.56)])
complex23.add(gdstk.Label('CL1#A', (2.08,0.64), layer=11, texttype=0))
complex23.add(gdstk.Label('CL1#B', (1.92,1.76), layer=11, texttype=0))
complex23.add(gdstk.Label('CL2#A', (2.72,1.28), layer=11, texttype=0))
complex23.add(gdstk.Label('CL2#B', (2.56,1.28), layer=11, texttype=0))
complex23.add(gdstk.Label('CL2#C', (2.4,2.08), layer=11, texttype=0))
complex23.add(gdstk.Label('CL3#A', (0.64,1.12), layer=11, texttype=0))
complex23.add(gdstk.Label('CL3#B', (0.8,1.12), layer=11, texttype=0))
complex23.add(gdstk.Label('CL4#A', (0.48,1.12), layer=11, texttype=0))
complex23.add(gdstk.Label('CL4#B', (0.32,1.12), layer=11, texttype=0))
complex23.add(gdstk.Label('CL4#C', (0.16,1.12), layer=11, texttype=0))
complex23.add(gdstk.Label('CL5#A', (2.88,1.28), layer=11, texttype=0))
complex23.add(gdstk.Label('CL5#Y', (3.36,1.44), layer=11, texttype=0))
complex23.add(gdstk.Label('CL6#A', (3.84,1.12), layer=11, texttype=0))
complex23.add(gdstk.Label('CL6#B', (3.68,1.12), layer=11, texttype=0))
complex23.add(gdstk.Label('CL6#C', (3.52,1.12), layer=11, texttype=0))

lib.write_gds('COMPLEX23.gds')
